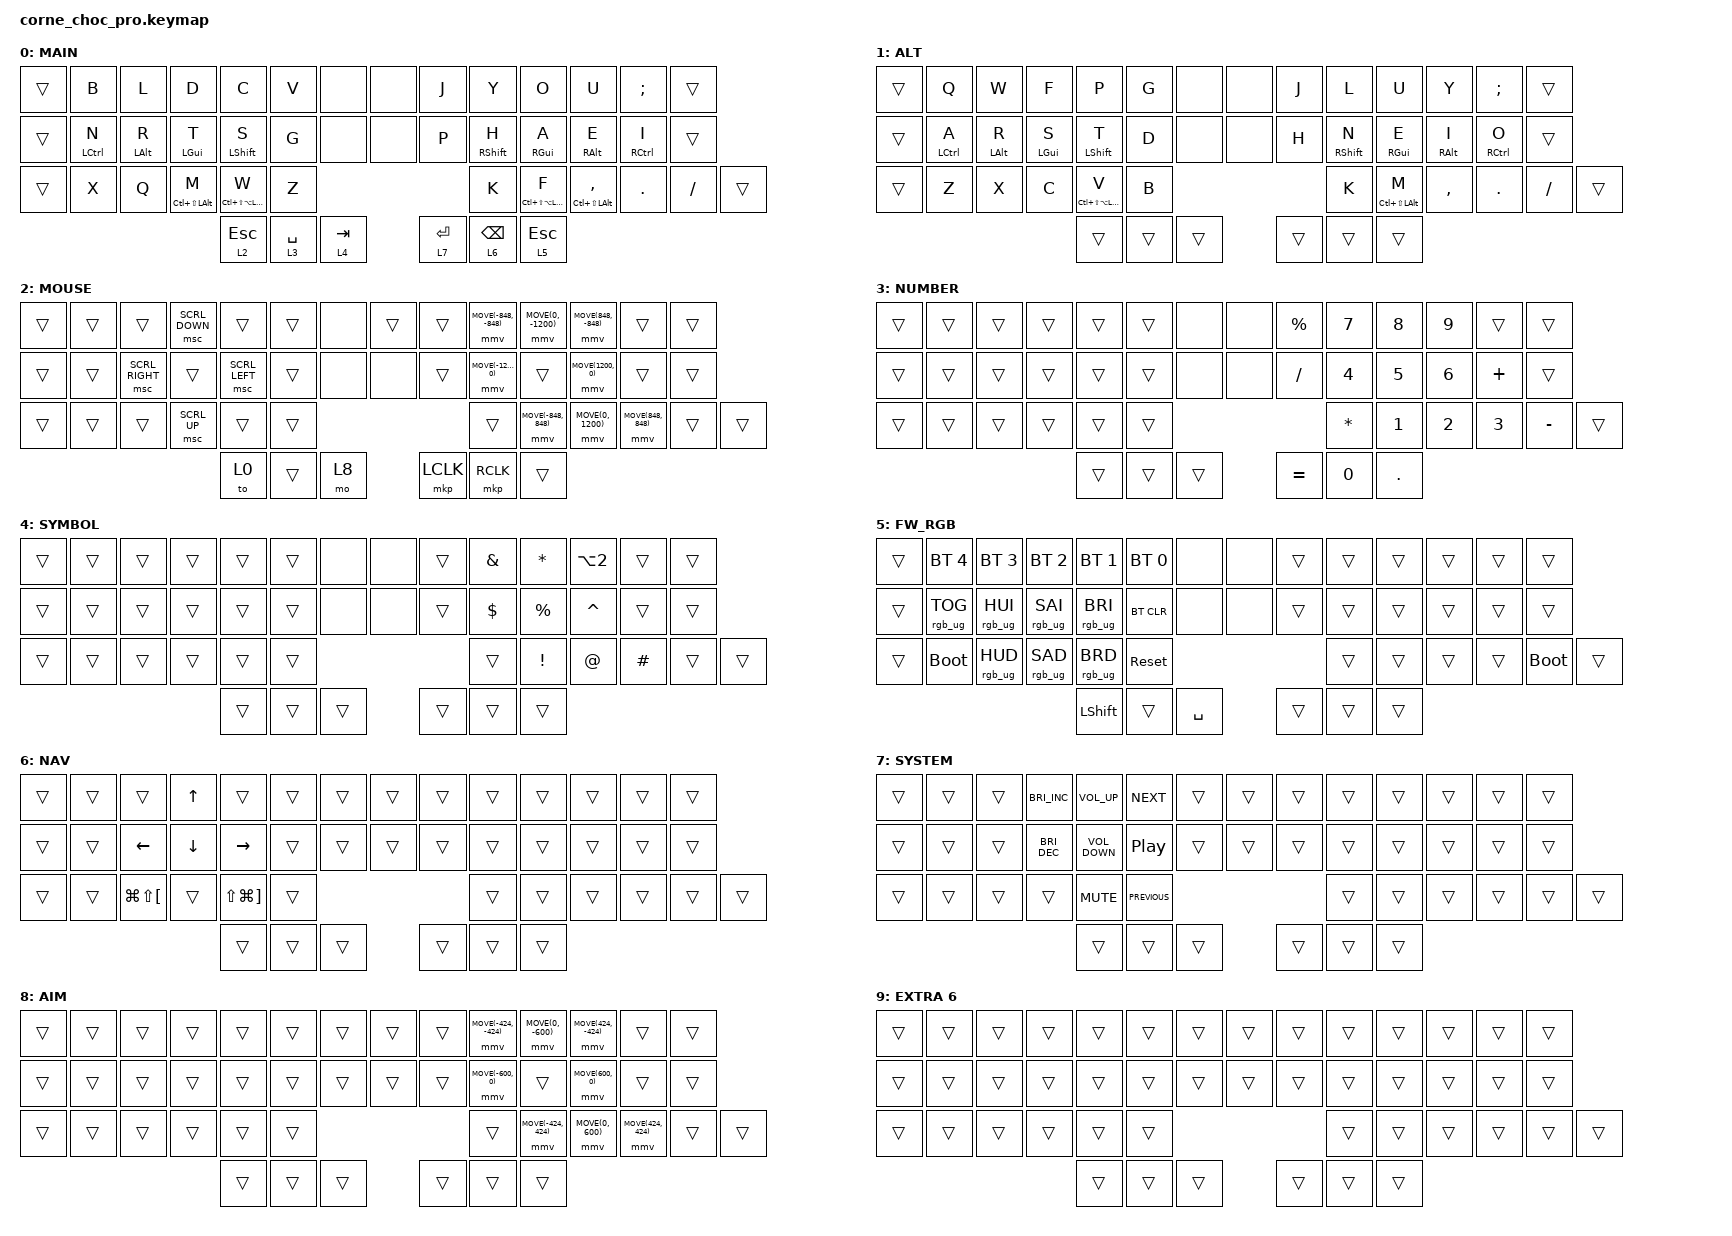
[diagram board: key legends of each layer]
/*
 * Copyright (c) 2020 The ZMK Contributors
 *
 * SPDX-License-Identifier: MIT
 */

#include <behaviors.dtsi>
#include <dt-bindings/zmk/bt.h>
#include <dt-bindings/zmk/keys.h>
#include <dt-bindings/zmk/pointing.h>
#include <dt-bindings/zmk/rgb.h>

/ {
    chosen { zmk,physical-layout = &default_layout; };
};

/ {
    behaviors {
        hml: home_row_mod_left {
            compatible = "zmk,behavior-hold-tap";
            #binding-cells = <2>;
            flavor = "balanced";
            tapping-term-ms = <280>;
            quick-tap-ms = <175>;
            require-prior-idle-ms = <150>;
            bindings = <&kp>, <&kp>;

            hold-trigger-key-positions = <
                 8  9 10 11 12 13
                22 23 24 25 26 27
                34 35 36 37 38 39
                43 44 45
            >;

            hold-trigger-on-release;
        };

        hmr: home_row_mod_right {
            compatible = "zmk,behavior-hold-tap";
            #binding-cells = <2>;
            flavor = "balanced";
            tapping-term-ms = <280>;
            quick-tap-ms = <175>;
            require-prior-idle-ms = <150>;
            bindings = <&kp>, <&kp>;

            hold-trigger-key-positions = <
                 0  1  2  3  4  5
                14 15 16 17 18 19
                28 29 30 31 32 33
                       40 41 42
            >;

            hold-trigger-on-release;
        };
    };

    combos {
        compatible = "zmk,combos";

        // Brackets: [ ]

        lbracket {
            bindings = <&kp LEFT_BRACKET>;
            key-positions = <3 4>;
        };

        rbracket {
            bindings = <&kp RIGHT_BRACKET>;
            key-positions = <10 9>;
        };

        // Braces: { }

        lbrace {
            bindings = <&kp LEFT_BRACE>;
            key-positions = <5 4>;
        };

        rbrace {
            bindings = <&kp RIGHT_BRACE>;
            key-positions = <8 9>;
        };

        // Parentheses: ( )

        lparens {
            bindings = <&kp LEFT_PARENTHESIS>;
            key-positions = <2 3>;
        };

        rparens {
            bindings = <&kp RIGHT_PARENTHESIS>;
            key-positions = <10 11>;
        };

        // Other symbols

        backslash {
            bindings = <&kp BACKSLASH>;
            key-positions = <12 11>;
        };

        quote {
            bindings = <&kp SQT>;
            key-positions = <26 25>;
        };

        equals {
            bindings = <&kp EQUAL>;
            key-positions = <38 37>;
        };

        minus {
            bindings = <&kp MINUS>;
            key-positions = <15 16>;
        };

        grave {
            bindings = <&kp GRAVE>;
            key-positions = <29 30>;
        };

        // Caps word

        capsword {
            bindings = <&caps_word>;
            key-positions = <1 2>;
        };

        // Layer switching: MAIN <-> ALT

        to_colemak {
            bindings = <&to 1>;
            key-positions = <40 45>;
            layers = <0>;
        };

        to_base {
            bindings = <&to 0>;
            key-positions = <45 40>;
            layers = <1>;
        };
    };

    keymap {
        compatible = "zmk,keymap";

        // Layer 0
        main_layer {
            display-name = "MAIN";
            bindings = <
                &trans  &kp B         &kp L        &kp D        &kp C                    &kp V        &none    &none  &kp J        &kp Y                &kp O         &kp U        &kp SEMICOLON  &trans
                &trans  &hml LCTRL N  &hml LALT R  &hml LGUI T  &hml LSHFT S             &kp G        &none    &none  &kp P        &hmr RSHFT H         &hmr RGUI A   &hmr RALT E  &hmr RCTRL I   &trans
                &trans  &kp X         &kp Q        &hml LC(LS(LALT)) M  &hml LC(LS(LA(LGUI))) W  &kp Z                     &kp K   &hmr LC(LS(LA(LGUI))) F  &hmr LC(LS(LALT)) COMMA  &kp PERIOD   &kp SLASH      &trans
                                                                &lt 2 ESCAPE             &lt 3 SPACE  &lt 4 TAB       &lt 7 ENTER  &lt 6 BACKSPACE      &lt 5 ESCAPE
            >;
        };

        // Layer 1
        alt_layer {
            display-name = "ALT";
            bindings = <
                &trans  &kp Q         &kp W        &kp F        &kp P                    &kp G     &none  &none    &kp J   &kp L                &kp U        &kp Y        &kp SEMICOLON  &trans
                &trans  &hml LCTRL A  &hml LALT R  &hml LGUI S  &hml LSHFT T             &kp D     &none  &none    &kp H   &hmr RSHFT N         &hmr RGUI E  &hmr RALT I  &hmr RCTRL O   &trans
                &trans  &kp Z         &kp X        &kp C        &hml LC(LS(LA(LGUI))) V  &kp B                     &kp K   &hmr LC(LS(LALT)) M  &kp COMMA    &kp PERIOD   &kp SLASH      &trans
                                                   &trans       &trans                   &trans                    &trans  &trans               &trans
            >;
        };

        // Layer 2
        mouse_layer {
            display-name = "MOUSE";
            bindings = <
                &trans  &trans  &trans           &msc SCRL_DOWN  &trans          &trans    &none  &trans    &trans     &mmv MOVE(-848, -848)  &mmv MOVE(0, -1200)  &mmv MOVE(848, -848)  &trans  &trans
                &trans  &trans  &msc SCRL_RIGHT  &trans          &msc SCRL_LEFT  &trans    &none  &none     &trans     &mmv MOVE(-1200, 0)    &trans               &mmv MOVE(1200, 0)    &trans  &trans
                &trans  &trans  &trans           &msc SCRL_UP    &trans          &trans                     &trans     &mmv MOVE(-848, 848)   &mmv MOVE(0, 1200)   &mmv MOVE(848, 848)   &trans  &trans
                                                 &to 0           &trans          &mo 8                      &mkp LCLK  &mkp RCLK              &trans
            >;
        };

        // Layer 3
        number_layer {
            display-name = "NUMBER";
            bindings = <
                &trans  &trans  &trans  &trans  &trans  &trans    &none  &none    &kp PERCENT  &kp N7  &kp N8      &kp N9  &trans     &trans
                &trans  &trans  &trans  &trans  &trans  &trans    &none  &none    &kp SLASH    &kp N4  &kp N5      &kp N6  &kp PLUS   &trans
                &trans  &trans  &trans  &trans  &trans  &trans                    &kp ASTRK    &kp N1  &kp N2      &kp N3  &kp MINUS  &trans
                                        &trans  &trans  &trans                    &kp EQUAL    &kp N0  &kp PERIOD
            >;
        };

        // Layer 4
        symbol_layer {
            display-name = "SYMBOL";
            bindings = <
                &trans  &trans  &trans  &trans  &trans  &trans    &none  &none    &trans  &kp AMPERSAND    &kp ASTERISK  &kp LA(NUMBER_2)  &trans  &trans
                &trans  &trans  &trans  &trans  &trans  &trans    &none  &none    &trans  &kp DOLLAR       &kp PERCENT   &kp CARET         &trans  &trans
                &trans  &trans  &trans  &trans  &trans  &trans                    &trans  &kp EXCLAMATION  &kp AT_SIGN   &kp HASH          &trans  &trans
                                        &trans  &trans  &trans                    &trans  &trans           &trans
            >;
        };

        // Layer 5
        fw_rgb_layer {
            display-name = "FW_RGB";
            bindings = <
                &trans  &bt BT_SEL 4     &bt BT_SEL 3     &bt BT_SEL 2     &bt BT_SEL 1     &bt BT_SEL 0    &none  &none    &trans  &trans  &trans  &trans  &trans       &trans
                &trans  &rgb_ug RGB_TOG  &rgb_ug RGB_HUI  &rgb_ug RGB_SAI  &rgb_ug RGB_BRI  &bt BT_CLR      &none  &none    &trans  &trans  &trans  &trans  &trans       &trans
                &trans  &bootloader      &rgb_ug RGB_HUD  &rgb_ug RGB_SAD  &rgb_ug RGB_BRD  &sys_reset                      &trans  &trans  &trans  &trans  &bootloader  &trans
                                                          &kp LSHFT        &trans           &kp SPACE                       &trans  &trans  &trans
            >;
        };

        // Layer 6
        nav_layer {
            display-name = "NAV";
            bindings = <
                &trans  &trans  &trans                    &kp UP_ARROW    &trans                     &trans    &trans  &trans    &trans  &trans  &trans  &trans  &trans  &trans
                &trans  &trans  &kp LEFT                  &kp DOWN_ARROW  &kp RIGHT                  &trans    &trans  &trans    &trans  &trans  &trans  &trans  &trans  &trans
                &trans  &trans  &kp LG(LS(LEFT_BRACKET))  &trans          &kp LS(LG(RIGHT_BRACKET))  &trans                      &trans  &trans  &trans  &trans  &trans  &trans
                                                          &trans          &trans                     &trans                      &trans  &trans  &trans
            >;
        };

        // Layer 7
        system_layer {
            display-name = "SYSTEM";
            bindings = <
                &trans  &trans  &trans  &kp C_BRIGHTNESS_INC  &kp C_VOLUME_UP    &kp C_NEXT          &trans  &trans    &trans  &trans  &trans  &trans  &trans  &trans
                &trans  &trans  &trans  &kp C_BRIGHTNESS_DEC  &kp C_VOLUME_DOWN  &kp C_PLAY_PAUSE    &trans  &trans    &trans  &trans  &trans  &trans  &trans  &trans
                &trans  &trans  &trans  &trans                &kp C_MUTE         &kp C_PREVIOUS                        &trans  &trans  &trans  &trans  &trans  &trans
                                        &trans                &trans             &trans                                &trans  &trans  &trans
            >;
        };

        // Layer 8
        mouse_aim_layer {
            display-name = "AIM";
            bindings = <
                &trans  &trans  &trans  &trans  &trans  &trans    &trans  &trans    &trans  &mmv MOVE(-424, -424)  &mmv MOVE(0, -600)  &mmv MOVE(424, -424)  &trans  &trans
                &trans  &trans  &trans  &trans  &trans  &trans    &trans  &trans    &trans  &mmv MOVE(-600, 0)     &trans              &mmv MOVE(600, 0)     &trans  &trans
                &trans  &trans  &trans  &trans  &trans  &trans                      &trans  &mmv MOVE(-424, 424)   &mmv MOVE(0, 600)   &mmv MOVE(424, 424)   &trans  &trans
                                        &trans  &trans  &trans                      &trans  &trans                 &trans
            >;
        };

        // Layer 9
        extra_layer_6 {
            display-name = "EXTRA 6";
            bindings = <
                &trans  &trans  &trans  &trans  &trans  &trans    &trans  &trans    &trans  &trans  &trans  &trans  &trans  &trans
                &trans  &trans  &trans  &trans  &trans  &trans    &trans  &trans    &trans  &trans  &trans  &trans  &trans  &trans
                &trans  &trans  &trans  &trans  &trans  &trans                      &trans  &trans  &trans  &trans  &trans  &trans
                                        &trans  &trans  &trans                      &trans  &trans  &trans
            >;
        };
    };
};
